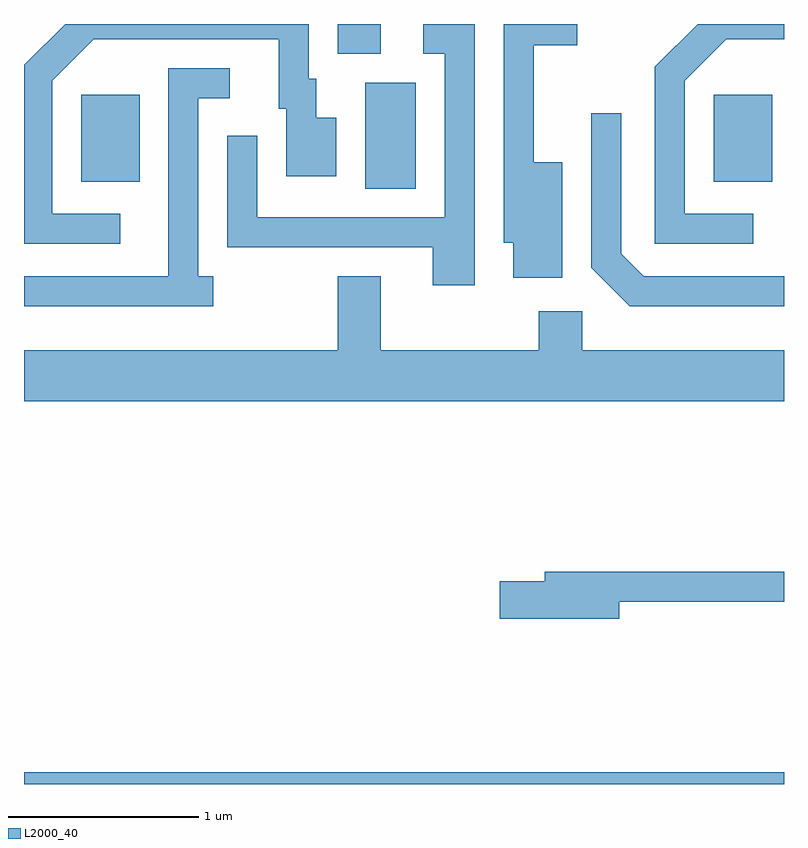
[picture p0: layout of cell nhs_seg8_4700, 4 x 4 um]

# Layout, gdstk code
import gdstk
lib = gdstk.Library(unit=1e-6, precision=1e-09)
def R(c, l, rs):  # rectangles x0, y0, x1, y1
    for r in rs: c.add(gdstk.rectangle(r[:2], r[2:], *l))
def P(c, l, *ps):  # polygons
    for p in ps: c.add(gdstk.Polygon(p, *l))
L2000_40 = (2000, 40)

nhs_seg8_4700 = lib.new_cell('nhs_seg8_4700')
R(nhs_seg8_4700, L2000_40, [(325.611,1894.342,329.611,1894.404), (327.406,1897.476,327.674,1898.034), (325.911,1897.511,326.219,1897.969), (329.241,1897.511,329.549,1897.969), (327.261,1898.186,327.489,1898.342)])
P(nhs_seg8_4700, L2000_40, [(327.984,1898.342),(327.713,1898.342),(327.713,1898.186),(327.826,1898.186),(327.826,1897.324),(326.839,1897.324),(326.839,1897.753),(326.681,1897.753),(326.681,1897.166),(327.761,1897.166),(327.761,1896.966),(327.984,1896.966)],
  [(326.118,1897.344),(325.759,1897.344),(325.759,1898.044),(325.977,1898.261),(326.951,1898.261),(326.951,1897.896),(326.991,1897.896),(326.991,1897.541),(327.254,1897.541),(327.254,1897.849),(327.149,1897.849),(327.149,1898.054),(327.109,1898.054),(327.109,1898.342),(325.827,1898.342),(325.611,1898.127),(325.611,1897.186),(326.118,1897.186)],
  [(328.444,1897.614),(328.294,1897.614),(328.294,1898.231),(328.523,1898.231),(328.523,1898.342),(328.136,1898.342),(328.136,1897.191),(328.186,1897.191),(328.186,1897.006),(328.444,1897.006)],
  [(329.448,1897.344),(329.089,1897.344),(329.089,1898.044),(329.307,1898.261),(329.611,1898.261),(329.611,1898.342),(329.157,1898.342),(328.931,1898.117),(328.931,1897.186),(329.448,1897.186)],
  [(326.608,1897.014),(326.529,1897.014),(326.529,1897.951),(326.693,1897.951),(326.693,1898.109),(326.371,1898.109),(326.371,1897.014),(325.611,1897.014),(325.611,1896.856),(326.608,1896.856)],
  [(329.611,1897.014),(328.872,1897.014),(328.754,1897.132),(328.754,1897.873),(328.596,1897.873),(328.596,1897.059),(328.799,1896.856),(329.611,1896.856)],
  [(329.611,1896.624),(328.549,1896.624),(328.549,1896.829),(328.321,1896.829),(328.321,1896.624),(327.489,1896.624),(327.489,1897.014),(327.261,1897.014),(327.261,1896.624),(325.611,1896.624),(325.611,1896.356),(329.611,1896.356)],
  [(328.744,1895.301),(329.611,1895.301),(329.611,1895.459),(328.351,1895.459),(328.351,1895.409),(328.116,1895.409),(328.116,1895.211),(328.744,1895.211)])

lib.write_gds('nhs_seg8_4700.gds')
